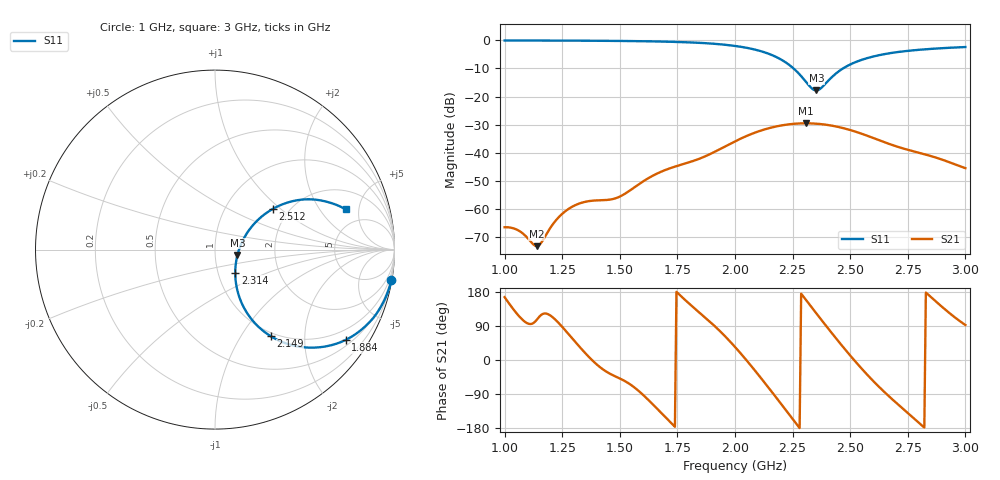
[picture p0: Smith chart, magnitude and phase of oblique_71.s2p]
! TOUCHSTONE file generated by CST MICROWAVE STUDIO
! Date and time: Tue Mar 18 00:01:30 2025
! Project name: oblique.cst
! Parameters = {Tilt=30; Fracture=1; B=12.5; D=160; F=5; Feed=2.85625; L=100; M=50; R=0.384908; S=2; Theta=180; length=57.125; wave=114.25}
! Header version: 2024
! Port assignment regex: !\s*Touchstone port\s*([0-9]+)\s*=\s*(CST MWS port|CST DES external port|CST DES block port)\s*(.+)\s* \(\"(.*)\"\)(\s*mode\s*([0-9]+))?.*
! Touchstone port assignment:
! Touchstone port 1 = CST MWS port 1 ("")
! Touchstone port 2 = CST MWS port 2 ("")
# GHz S DB R 50
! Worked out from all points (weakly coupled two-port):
!   304 points, 1 GHz to 3 GHz, reference 50 ohm
!   highest |S21| = -29.51 dB at 2.307 GHz (marker M1); lowest = -73.2 dB at 1.139 GHz (marker M2)
!   lowest |S11| = -17.8 dB at 2.353 GHz (marker M3), VSWR 1.30, Z = 64.2 - j3.84 ohm
!   |S11| at or under -10 dB: 2.254 GHz to 2.469 GHz (214.3 MHz wide, 9.07 % of centre)
!   S12 and S22 are empty: the file has one direction only
!   S11 on the Smith chart (normalised r, x): 1 GHz: 0, -12; 1.884 GHz: 0.66, -3.08; 2.149 GHz: 0.95, -1.36; 2.314 GHz: 1.21, -0.32; 2.512 GHz: 1.65, +0.88; 3 GHz: 3.38, +3.61
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1  -0.02 -9.8  -66.50 165.9  -200.00 0.0  -200.00 0.0
1.05941  -0.03 -10.6  -67.62 117.9  -200.00 0.0  -200.00 0.0
1.13861  -0.04 -11.8  -73.24 105.4  -200.00 0.0  -200.00 0.0
1.15842  -0.05 -12.1  -72.07 118.9  -200.00 0.0  -200.00 0.0
1.20462  -0.06 -12.9  -65.97 114.8  -200.00 0.0  -200.00 0.0
1.24422  -0.07 -13.5  -62.16 91.4  -200.00 0.0  -200.00 0.0
1.29043  -0.08 -14.3  -59.33 59.2  -200.00 0.0  -200.00 0.0
1.33663  -0.10 -15.2  -57.73 27.0  -200.00 0.0  -200.00 0.0
1.48845  -0.19 -18.6  -56.00 -45.5  -200.00 0.0  -200.00 0.0
1.66667  -0.38 -24.1  -47.21 -131.5  -200.00 0.0  -200.00 0.0
1.88449  -1.06 -34.6  -40.75 104.7  -200.00 0.0  -200.00 0.0
2.0033  -2.01 -43.3  -35.80 32.2  -200.00 0.0  -200.00 0.0
2.14851  -4.83 -57.3  -31.22 -75.3  -200.00 0.0  -200.00 0.0
2.23432  -8.67 -63.5  -29.87 -143.0  -200.00 0.0  -200.00 0.0
2.30693  -14.64 -52.4  -29.51 159.4  -200.00 0.0  -200.00 0.0
2.31353  -15.30 -49.0  -29.51 154.2  -200.00 0.0  -200.00 0.0
2.33993  -17.48 -27.6  -29.58 133.3  -200.00 0.0  -200.00 0.0
2.35314  -17.81 -13.2  -29.65 122.9  -200.00 0.0  -200.00 0.0
2.44554  -11.31 33.9  -30.76 51.8  -200.00 0.0  -200.00 0.0
2.51155  -8.13 35.2  -32.19 3.6  -200.00 0.0  -200.00 0.0
2.66997  -4.59 28.4  -36.87 -96.7  -200.00 0.0  -200.00 0.0
3  -2.37 17.1  -45.48 92.3  -200.00 0.0  -200.00 0.0
